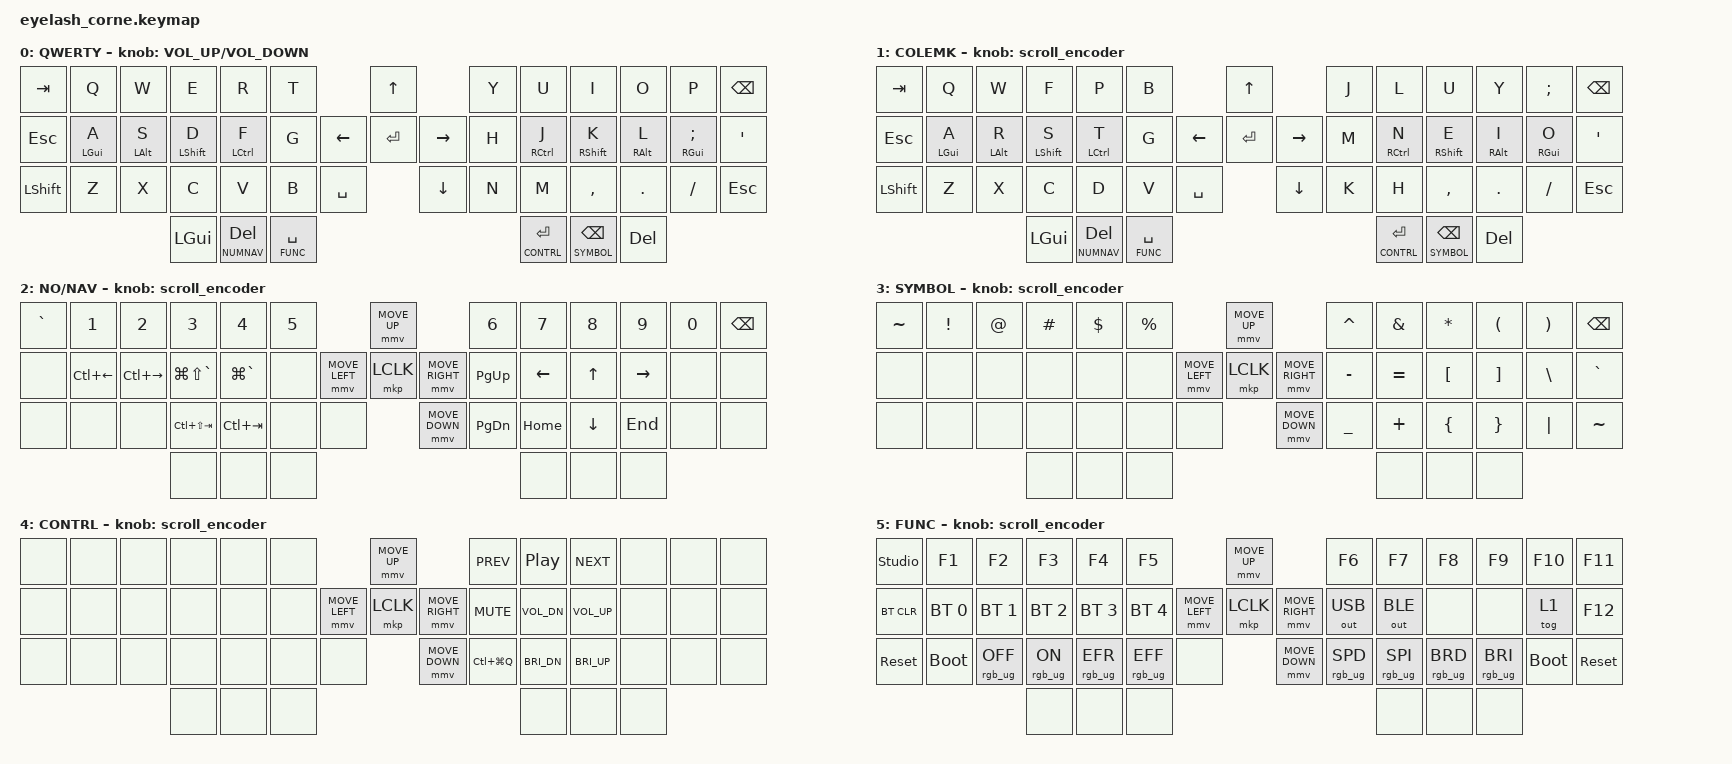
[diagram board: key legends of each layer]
#define ZMK_POINTING_DEFAULT_MOVE_VAL 1200  // 600
#define ZMK_POINTING_DEFAULT_SCRL_VAL 25   // 10
#define NUMNAV 2
#define SYMBOL 3
#define CONTRL 4
#define FUNC   5

#include <input/processors.dtsi>
#include <zephyr/dt-bindings/input/input-event-codes.h>
#include <behaviors.dtsi>
#include <dt-bindings/zmk/bt.h>
#include <dt-bindings/zmk/keys.h>
#include <dt-bindings/zmk/outputs.h>
#include <dt-bindings/zmk/pointing.h>
#include <dt-bindings/zmk/rgb.h>

&mmv_input_listener { input-processors = <&zip_xy_scaler 2 1>; };

&msc_input_listener { input-processors = <&zip_scroll_scaler 2 1>; };

&msc {
    acceleration-exponent = <1>;      // 0
    time-to-max-speed-ms = <100>;       // 300
    delay-ms = <0>;                   // 0
};

&mmv {
    time-to-max-speed-ms = <500>;
    acceleration-exponent = <1>;
    trigger-period-ms = <16>;
};

/ {
    behaviors {
        td0: td0 {
            compatible = "zmk,behavior-tap-dance";
            display-name = "Shift/Caps Lock Tap Dance";
            #binding-cells = <0>;
            bindings = <&kp LEFT_SHIFT>, <&kp CAPS>;
        };
    };

    rgb_encoder: rgb_encoder {
        compatible = "zmk,behavior-sensor-rotate";
        #sensor-binding-cells = <0>;
        bindings = <&rgb_ug RGB_BRI>, <&rgb_ug RGB_BRD>;
    };

    scroll_encoder: scroll_encoder {
        compatible = "zmk,behavior-sensor-rotate";
        #sensor-binding-cells = <0>;
        bindings = <&msc SCRL_DOWN>, <&msc SCRL_UP>;

        tap-ms = <100>;
    };

    keymap {
        compatible = "zmk,keymap";

        default_layer {
            display-name = "QWERTY";
            bindings = <
&kp TAB     &kp Q       &kp W       &kp E         &kp R        &kp T                               &kp UP                &kp Y  &kp U        &kp I         &kp O       &kp P          &kp BSPC
&kp ESC     &mt LGUI A  &mt LALT S  &mt LSHIFT D  &mt LCTRL F  &kp G                     &kp LEFT  &kp ENTER  &kp RIGHT  &kp H  &mt RCTRL J  &mt RSHIFT K  &mt RALT L  &mt RGUI SEMI  &kp SQT
&kp LSHIFT  &kp Z       &kp X       &kp C         &kp V        &kp B   &kp SPACE                   &kp DOWN              &kp N  &kp M        &kp COMMA     &kp DOT     &kp FSLH       &kp ESC
                                    &kp LGUI  &lt NUMNAV DEL  &lt FUNC SPACE                                             &lt CONTRL ENTER  &lt SYMBOL BSPC  &kp DEL
            >;

             sensor-bindings = <&inc_dec_kp C_VOLUME_UP C_VOLUME_DOWN>;

           
        };

        colemak_layer {
            display-name = "COLEMK";
            bindings = <
&kp TAB     &kp Q       &kp W       &kp F         &kp P        &kp B                               &kp UP                &kp J  &kp L        &kp U         &kp Y       &kp SEMI    &kp BSPC
&kp ESC     &mt LGUI A  &mt LALT R  &mt LSHIFT S  &mt LCTRL T  &kp G                     &kp LEFT  &kp ENTER  &kp RIGHT  &kp M  &mt RCTRL N  &mt RSHIFT E  &mt RALT I  &mt RGUI O  &kp SQT
&kp LSHIFT  &kp Z       &kp X       &kp C         &kp D        &kp V   &kp SPACE                   &kp DOWN              &kp K  &kp H        &kp COMMA     &kp DOT     &kp FSLH    &kp ESC
                                    &kp LGUI  &lt NUMNAV DEL  &lt FUNC SPACE                                             &lt CONTRL ENTER  &lt SYMBOL BSPC  &kp DEL
            >;

            sensor-bindings = <&scroll_encoder>;
        };

        lower_layer {
            display-name = "NO/NAV";
            bindings = <
&kp GRAVE  &kp N1         &kp N2         &kp N3             &kp N4         &kp N5                                 &mmv MOVE_UP                     &kp N6     &kp N7    &kp N8    &kp N9     &kp N0  &kp BSPC
&none      &kp LC(LEFT)   &kp LC(RIGHT)  &kp LG(LS(GRAVE))  &kp LG(GRAVE)  &none                  &mmv MOVE_LEFT  &mkp LCLK       &mmv MOVE_RIGHT  &kp PG_UP  &kp LEFT  &kp UP    &kp RIGHT  &none   &none
&none      &none          &none          &kp LC(LS(TAB))    &kp LC(TAB)    &none    &none                         &mmv MOVE_DOWN                   &kp PG_DN  &kp HOME  &kp DOWN  &kp END    &none   &none
                                         &none  &none  &none                                                                                      &none  &none  &none
            >;

            sensor-bindings = <&scroll_encoder>;
        };

        raise_layer {
            display-name = "SYMBOL";
            bindings = <
&kp TILDE  &kp EXCL  &kp AT  &kp HASH  &kp DLLR  &kp PRCNT                             &mmv MOVE_UP                     &kp CARET  &kp AMPS   &kp ASTRK  &kp LPAR  &kp RPAR  &kp BSPC
&none      &none     &none   &none     &none     &none                 &mmv MOVE_LEFT  &mkp LCLK       &mmv MOVE_RIGHT  &kp MINUS  &kp EQUAL  &kp LBKT   &kp RBKT  &kp BSLH  &kp GRAVE
&none      &none     &none   &none     &none     &none      &none                      &mmv MOVE_DOWN                   &kp UNDER  &kp PLUS   &kp LBRC   &kp RBRC  &kp PIPE  &kp TILDE
                             &none  &none  &none                                                                       &none  &none  &none
            >;

            sensor-bindings = <&scroll_encoder>;
        };

        control_layer {
            display-name = "CONTRL";
            bindings = <
&none  &none  &none  &none  &none  &none                               &mmv MOVE_UP                     &kp C_PREV     &kp C_PP      &kp C_NEXT    &none  &none  &none
&none  &none  &none  &none  &none  &none               &mmv MOVE_LEFT  &mkp LCLK       &mmv MOVE_RIGHT  &kp C_MUTE     &kp C_VOL_DN  &kp C_VOL_UP  &none  &none  &none
&none  &none  &none  &none  &none  &none   &none                       &mmv MOVE_DOWN                   &kp LC(LG(Q))  &kp C_BRI_DN  &kp C_BRI_UP  &none  &none  &none
                     &none  &none  &none                                                                &none  &none  &none
            >;

            sensor-bindings = <&scroll_encoder>;
        };

        func_layer {
            display-name = "FUNC";
            bindings = <
&studio_unlock  &kp F1        &kp F2           &kp F3          &kp F4           &kp F5                                      &mmv MOVE_UP                     &kp F6           &kp F7           &kp F8           &kp F9           &kp F10      &kp F11
&bt BT_CLR      &bt BT_SEL 0  &bt BT_SEL 1     &bt BT_SEL 2    &bt BT_SEL 3     &bt BT_SEL 4                &mmv MOVE_LEFT  &mkp LCLK       &mmv MOVE_RIGHT  &out OUT_USB     &out OUT_BLE     &none            &none            &tog 1       &kp F12
&sys_reset      &bootloader   &rgb_ug RGB_OFF  &rgb_ug RGB_ON  &rgb_ug RGB_EFR  &rgb_ug RGB_EFF   &none                     &mmv MOVE_DOWN                   &rgb_ug RGB_SPD  &rgb_ug RGB_SPI  &rgb_ug RGB_BRD  &rgb_ug RGB_BRI  &bootloader  &sys_reset
                                               &none  &none  &none                                                                                           &none  &none  &none
            >;

            sensor-bindings = <&scroll_encoder>;
        };

    };
};

/ {
    combos {
        compatible = "zmk,combos";
/*        combo_next_tab {
            timeout-ms = <50>;
            key-positions = <31 32>;
            bindings = <&kp LC(TAB)>;
            layers = <0 1>;
        };
        combo_prev_tab {
            timeout-ms = <50>;
            key-positions = <30 31>;
            bindings = <&kp LC(LS(TAB))>;
            layers = <0 1>;
        };
        combo_next_app {
            timeout-ms = <50>;
            key-positions = <32 44>;
            bindings = <&kp LG(GRAVE)>;
            layers = <0 1>;
        };
        combo_prev_app {
            timeout-ms = <50>;
            key-positions = <31 44>;
            bindings = <&kp LC(LS(TAB))>;
            layers = <0 1>;
        }; */
    };
};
